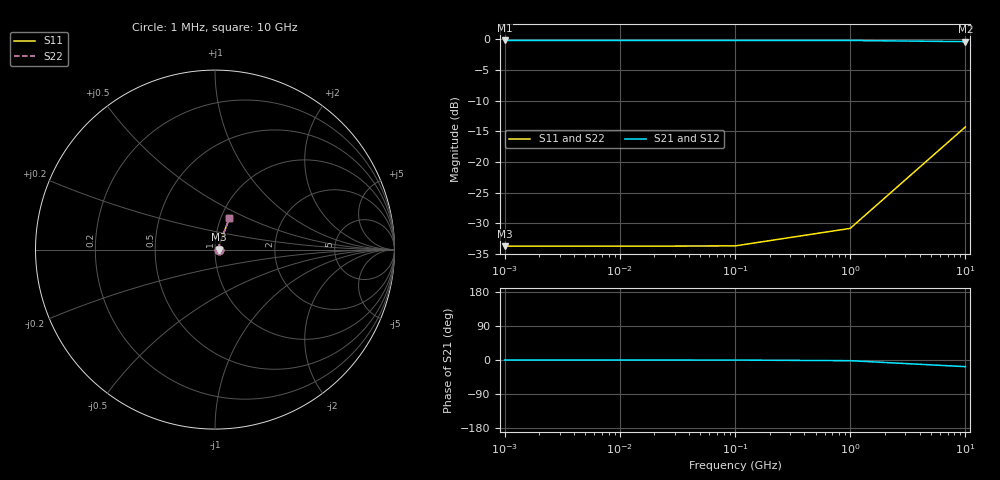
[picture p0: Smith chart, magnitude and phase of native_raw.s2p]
! Sonnet Data File
! From: em Version : 18.53-Lite
! From Project: project
! Data is NOT De-embedded
! Data File Written: 10/07/2026 08:33:02
!< HDATE 10/07/2026 08:33:02
!< MDATE 10/07/2026 08:33:02
# GHZ S RI R 50.00000
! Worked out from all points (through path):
!   5 points, 1 MHz to 10 GHz, reference 50 ohm
!   highest |S21| = -0.18 dB at 1 MHz (marker M1); lowest = -0.4 dB at 10 GHz (marker M2)
!   lowest |S11| = -33.7 dB at 1 MHz (marker M3), VSWR 1.04, Z = 52.1 + j0.00203 ohm
!   |S11| at or under -10 dB: start of sweep to end of sweep
!   |S22| runs from -33.7 to -14.3 dB; largest |S21 - S12| = 4.2e-13
0.001  0.0206 1.95e-05  0.9794 -3.08e-05  0.9794 -3.08e-05  0.0206 1.95e-05
0.01  0.0206 0.000194  0.9794 -0.000307  0.9794 -0.000307  0.0206 0.000194
0.1  0.0206 0.00194  0.9794 -0.00307  0.9794 -0.00307  0.0206 0.00194
1  0.0212 0.0194  0.9787 -0.0307  0.9787 -0.0307  0.0212 0.0194
10  0.0803 0.1756  0.9133 -0.2889  0.9133 -0.2889  0.0803 0.1756
